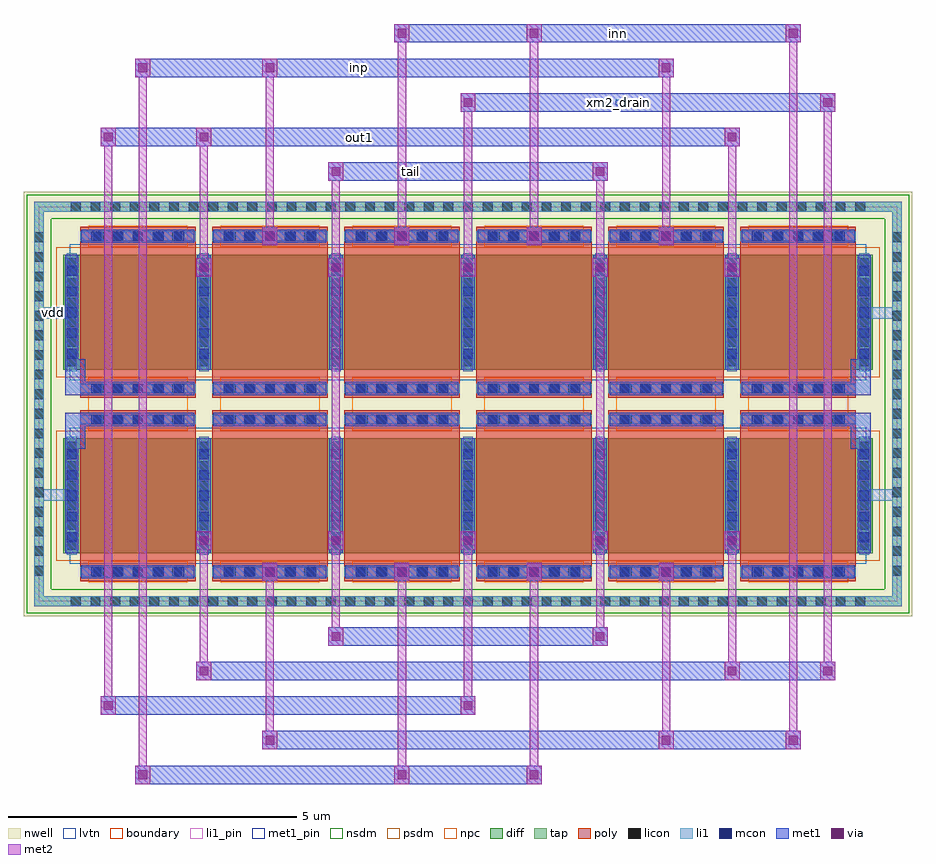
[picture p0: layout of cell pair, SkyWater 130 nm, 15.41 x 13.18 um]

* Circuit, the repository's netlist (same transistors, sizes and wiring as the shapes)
* SPDX-License-Identifier: Apache-2.0
* Copyright 2026 Mauro Rodriguez Blasco
*
* Second layout exercise: the comparator's PMOS input pair (XM1, XM2), one unit w=2 l=2 and
* four units each, as one low-Vt device of two rows of six fingers (m=2, nf=6) in one n-well
* with its guard ring: a 2 x 4 common centroid, top row D A B B A D, bottom row D B A A B D.
* A is XM1 (inp, out1), B is XM2 (inn, xm2_drain), D a dummy with its gate and outer column
* at vdd. The fingers share diffusion, so in the top row the dummies touch A's drain and in
* the bottom row B's: two dummies on each drain, which keeps out1 and xm2_drain equally loaded.
* Diffusion columns, left to right: top row vdd out1 tail xm2_drain tail out1 vdd; bottom row
* vdd xm2_drain tail out1 tail xm2_drain vdd. Guard ring (the body): vdd.
* Reference for LVS (scripts/flow.py lvs pair).
.subckt pair inp inn out1 xm2_drain tail vdd
XM1 out1 inp tail vdd sky130_fd_pr__pfet_01v8_lvt w=2 l=2 mult=4 m=4
XM2 xm2_drain inn tail vdd sky130_fd_pr__pfet_01v8_lvt w=2 l=2 mult=4 m=4
XMDA out1 vdd vdd vdd sky130_fd_pr__pfet_01v8_lvt w=2 l=2 mult=2 m=2
XMDB xm2_drain vdd vdd vdd sky130_fd_pr__pfet_01v8_lvt w=2 l=2 mult=2 m=2
.ends pair

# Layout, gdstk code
import gdstk
lib = gdstk.Library(unit=1e-6, precision=1e-09)
def R(c, l, rs):  # rectangles x0, y0, x1, y1
    for r in rs: c.add(gdstk.rectangle(r[:2], r[2:], *l))
def A(c, l, x, y, w, h, nx, ny, dx, dy):  # array of equal rectangles
    R(c, l, [(x+i*dx, y+j*dy, x+i*dx+w, y+j*dy+h) for i in range(nx) for j in range(ny)])
nwell = (64, 20)
diff = (65, 20)
tap = (65, 44)
poly = (66, 20)
licon = (66, 44)
li1_pin = (67, 16)
li1 = (67, 20)
mcon = (67, 44)
met1_pin = (68, 16)
met1 = (68, 20)
via = (68, 44)
met2 = (69, 20)
nsdm = (93, 44)
psdm = (94, 20)
npc = (95, 20)
lvtn = (125, 44)
boundary = (235, 4)

sky130_fd_pr__pfet_01v8_ = lib.new_cell('sky130_fd_pr__pfet_01v8_lvt_XXW46M')
R(sky130_fd_pr__pfet_01v8_, nwell, [(-7.705,-3.685,7.705,3.685)])
R(sky130_fd_pr__pfet_01v8_, diff, [(-7.015,-2.59,7.015,-0.59), (-7.015,0.59,7.015,2.59)])
R(sky130_fd_pr__pfet_01v8_, tap, [(-7.525,-3.505,7.525,-3.335), (-7.525,-3.335,-7.355,3.335), (7.355,-3.335,7.525,3.335), (-7.525,3.335,7.525,3.505)])
A(sky130_fd_pr__pfet_01v8_, poly, -6.725, -3.075, 2, 2.97, 6, 2, 2.29, 3.18)
A(sky130_fd_pr__pfet_01v8_, licon, -6.885, -3.505, 0.17, 0.17, 41, 2, 0.34, 6.84)
A(sky130_fd_pr__pfet_01v8_, licon, -6.49, -2.995, 0.17, 0.17, 5, 2, 0.34, 2.64)
A(sky130_fd_pr__pfet_01v8_, licon, -4.2, -2.995, 0.17, 0.17, 5, 2, 0.34, 2.64)
A(sky130_fd_pr__pfet_01v8_, licon, -1.91, -2.995, 0.17, 0.17, 5, 2, 0.34, 2.64)
A(sky130_fd_pr__pfet_01v8_, licon, 0.38, -2.995, 0.17, 0.17, 5, 2, 0.34, 2.64)
A(sky130_fd_pr__pfet_01v8_, licon, 2.67, -2.995, 0.17, 0.17, 5, 2, 0.34, 2.64)
A(sky130_fd_pr__pfet_01v8_, licon, 4.96, -2.995, 0.17, 0.17, 5, 2, 0.34, 2.64)
A(sky130_fd_pr__pfet_01v8_, licon, -7.525, -2.975, 0.17, 0.17, 1, 18, 0, 0.34)
A(sky130_fd_pr__pfet_01v8_, licon, 7.355, -2.975, 0.17, 0.17, 1, 18, 0, 0.34)
A(sky130_fd_pr__pfet_01v8_, licon, -6.955, -2.525, 0.17, 0.17, 7, 6, 2.29, 0.34)
A(sky130_fd_pr__pfet_01v8_, licon, -6.49, 0.185, 0.17, 0.17, 5, 2, 0.34, 2.64)
A(sky130_fd_pr__pfet_01v8_, licon, -4.2, 0.185, 0.17, 0.17, 5, 2, 0.34, 2.64)
A(sky130_fd_pr__pfet_01v8_, licon, -1.91, 0.185, 0.17, 0.17, 5, 2, 0.34, 2.64)
A(sky130_fd_pr__pfet_01v8_, licon, 0.38, 0.185, 0.17, 0.17, 5, 2, 0.34, 2.64)
A(sky130_fd_pr__pfet_01v8_, licon, 2.67, 0.185, 0.17, 0.17, 5, 2, 0.34, 2.64)
A(sky130_fd_pr__pfet_01v8_, licon, 4.96, 0.185, 0.17, 0.17, 5, 2, 0.34, 2.64)
A(sky130_fd_pr__pfet_01v8_, licon, -6.955, 0.655, 0.17, 0.17, 7, 6, 2.29, 0.34)
A(sky130_fd_pr__pfet_01v8_, li1, -6.725, -2.995, 2, 0.17, 6, 2, 2.29, 2.64)
A(sky130_fd_pr__pfet_01v8_, li1, -6.955, -2.61, 0.17, 2.04, 7, 2, 2.29, 3.18)
A(sky130_fd_pr__pfet_01v8_, li1, -6.725, 0.185, 2, 0.17, 6, 2, 2.29, 2.64)
R(sky130_fd_pr__pfet_01v8_, li1, [(-7.525,-3.505,7.525,-3.335), (-7.525,-3.335,-7.355,3.335), (7.355,-3.335,7.525,3.335), (-7.525,3.335,7.525,3.505)])
A(sky130_fd_pr__pfet_01v8_, mcon, -6.53, -2.995, 0.17, 0.17, 5, 2, 0.36, 2.64)
A(sky130_fd_pr__pfet_01v8_, mcon, -4.24, -2.995, 0.17, 0.17, 5, 2, 0.36, 2.64)
A(sky130_fd_pr__pfet_01v8_, mcon, -1.95, -2.995, 0.17, 0.17, 5, 2, 0.36, 2.64)
A(sky130_fd_pr__pfet_01v8_, mcon, 0.34, -2.995, 0.17, 0.17, 5, 2, 0.36, 2.64)
A(sky130_fd_pr__pfet_01v8_, mcon, 2.63, -2.995, 0.17, 0.17, 5, 2, 0.36, 2.64)
A(sky130_fd_pr__pfet_01v8_, mcon, 4.92, -2.995, 0.17, 0.17, 5, 2, 0.36, 2.64)
A(sky130_fd_pr__pfet_01v8_, mcon, -6.955, -2.395, 0.17, 0.17, 7, 5, 2.29, 0.36)
A(sky130_fd_pr__pfet_01v8_, mcon, -6.53, 0.185, 0.17, 0.17, 5, 2, 0.36, 2.64)
A(sky130_fd_pr__pfet_01v8_, mcon, -4.24, 0.185, 0.17, 0.17, 5, 2, 0.36, 2.64)
A(sky130_fd_pr__pfet_01v8_, mcon, -1.95, 0.185, 0.17, 0.17, 5, 2, 0.36, 2.64)
A(sky130_fd_pr__pfet_01v8_, mcon, 0.34, 0.185, 0.17, 0.17, 5, 2, 0.36, 2.64)
A(sky130_fd_pr__pfet_01v8_, mcon, 2.63, 0.185, 0.17, 0.17, 5, 2, 0.36, 2.64)
A(sky130_fd_pr__pfet_01v8_, mcon, 4.92, 0.185, 0.17, 0.17, 5, 2, 0.36, 2.64)
A(sky130_fd_pr__pfet_01v8_, mcon, -6.955, 0.785, 0.17, 0.17, 7, 5, 2.29, 0.36)
A(sky130_fd_pr__pfet_01v8_, met1, -6.705, -3.025, 1.96, 0.23, 6, 2, 2.29, 2.64)
A(sky130_fd_pr__pfet_01v8_, met1, -6.985, -2.59, 0.23, 2, 7, 2, 2.29, 3.18)
A(sky130_fd_pr__pfet_01v8_, met1, -6.705, 0.155, 1.96, 0.23, 6, 2, 2.29, 2.64)
R(sky130_fd_pr__pfet_01v8_, nsdm, [(-7.65,-3.63,7.65,-3.21), (-7.65,-3.21,-7.23,3.21), (7.23,-3.21,7.65,3.21), (-7.65,3.21,7.65,3.63)])
R(sky130_fd_pr__pfet_01v8_, psdm, [(-7.14,-2.715,7.14,-0.465), (-7.14,0.465,7.14,2.715)])
A(sky130_fd_pr__pfet_01v8_, npc, -6.59, -3.095, 1.73, 0.37, 6, 2, 2.29, 5.82)
A(sky130_fd_pr__pfet_01v8_, npc, -6.59, -0.455, 1.73, 0.91, 6, 1, 2.29, 0)
R(sky130_fd_pr__pfet_01v8_, lvtn, [(-6.905,-2.77,6.905,-0.41), (-6.905,0.41,6.905,2.77)])
R(sky130_fd_pr__pfet_01v8_, boundary, [(-7.44,-3.42,7.44,3.42)])
sky130_fd_pr__pfet_01v8_.add(gdstk.Label('B', (0,-3.42), layer=67, texttype=5))
sky130_fd_pr__pfet_01v8_.add(gdstk.Label('D0_0', (-6.87,-1.59), layer=67, texttype=5))
sky130_fd_pr__pfet_01v8_.add(gdstk.Label('G0_0', (-5.725,-0.27), layer=67, texttype=5))
sky130_fd_pr__pfet_01v8_.add(gdstk.Label('D0_1', (-6.87,1.59), layer=67, texttype=5))
sky130_fd_pr__pfet_01v8_.add(gdstk.Label('G0_1', (-5.725,2.91), layer=67, texttype=5))
sky130_fd_pr__pfet_01v8_.add(gdstk.Label('S1_0', (-4.58,-1.59), layer=67, texttype=5))
sky130_fd_pr__pfet_01v8_.add(gdstk.Label('G1_0', (-3.435,-0.27), layer=67, texttype=5))
sky130_fd_pr__pfet_01v8_.add(gdstk.Label('S1_1', (-4.58,1.59), layer=67, texttype=5))
sky130_fd_pr__pfet_01v8_.add(gdstk.Label('G1_1', (-3.435,2.91), layer=67, texttype=5))
sky130_fd_pr__pfet_01v8_.add(gdstk.Label('D2_0', (-2.29,-1.59), layer=67, texttype=5))
sky130_fd_pr__pfet_01v8_.add(gdstk.Label('G2_0', (-1.145,-0.27), layer=67, texttype=5))
sky130_fd_pr__pfet_01v8_.add(gdstk.Label('D2_1', (-2.29,1.59), layer=67, texttype=5))
sky130_fd_pr__pfet_01v8_.add(gdstk.Label('G2_1', (-1.145,2.91), layer=67, texttype=5))
sky130_fd_pr__pfet_01v8_.add(gdstk.Label('S3_0', (0,-1.59), layer=67, texttype=5))
sky130_fd_pr__pfet_01v8_.add(gdstk.Label('G3_0', (1.145,-0.27), layer=67, texttype=5))
sky130_fd_pr__pfet_01v8_.add(gdstk.Label('S3_1', (0,1.59), layer=67, texttype=5))
sky130_fd_pr__pfet_01v8_.add(gdstk.Label('G3_1', (1.145,2.91), layer=67, texttype=5))
sky130_fd_pr__pfet_01v8_.add(gdstk.Label('D4_0', (2.29,-1.59), layer=67, texttype=5))
sky130_fd_pr__pfet_01v8_.add(gdstk.Label('G4_0', (3.435,-0.27), layer=67, texttype=5))
sky130_fd_pr__pfet_01v8_.add(gdstk.Label('D4_1', (2.29,1.59), layer=67, texttype=5))
sky130_fd_pr__pfet_01v8_.add(gdstk.Label('G4_1', (3.435,2.91), layer=67, texttype=5))
sky130_fd_pr__pfet_01v8_.add(gdstk.Label('S5_0', (4.58,-1.59), layer=67, texttype=5))
sky130_fd_pr__pfet_01v8_.add(gdstk.Label('G5_0', (5.725,-0.27), layer=67, texttype=5))
sky130_fd_pr__pfet_01v8_.add(gdstk.Label('S5_1', (4.58,1.59), layer=67, texttype=5))
sky130_fd_pr__pfet_01v8_.add(gdstk.Label('G5_1', (5.725,2.91), layer=67, texttype=5))

pair = lib.new_cell('pair')
R(pair, li1_pin, [(0.2,4.95,0.3,5.05)])
R(pair, li1, [(-0.085,1.74,0.6,1.94), (14.28,1.74,14.965,1.94), (-0.085,4.9,0.6,5.1), (14.28,4.9,14.965,5.1)])
R(pair, met1_pin, [(6.4,7.4,6.5,7.5), (5.5,8,5.6,8.1), (10,8.6,10.1,8.7), (5.5,9.2,5.6,9.3), (10,9.8,10.1,9.9)])
A(pair, met1, 3.875, 0.35, 0.26, 0.32, 4, 2, 2.29, 5.82)
A(pair, met1, 2.73, 0.89, 0.26, 0.32, 5, 2, 2.29, 4.74)
R(pair, met1, [(1.67,-3.17,8.715,-2.85), (3.875,-2.57,13.21,-2.25), (1.07,-1.97,7.57,-1.65), (2.73,-1.37,13.81,-1.05), (5.02,-0.77,9.86,-0.45), (0.455,2.64,0.8,3.265), (14.08,2.64,14.425,3.265), (0.455,3.575,0.8,4.2), (14.08,3.575,14.425,4.2), (5.02,7.29,9.86,7.61), (1.07,7.89,12.15,8.21), (7.31,8.49,13.81,8.81), (1.67,9.09,11.005,9.41), (6.165,9.69,13.21,10.01)])
A(pair, via, 3.93, 0.435, 0.15, 0.15, 4, 2, 2.29, 5.82)
A(pair, via, 2.785, 0.975, 0.15, 0.15, 5, 2, 2.29, 4.74)
R(pair, via, [(1.725,-3.085,1.875,-2.935), (6.22,-3.085,6.37,-2.935), (8.51,-3.085,8.66,-2.935), (3.93,-2.485,4.08,-2.335), (10.8,-2.485,10.95,-2.335), (13.005,-2.485,13.155,-2.335), (1.125,-1.885,1.275,-1.735), (7.365,-1.885,7.515,-1.735), (2.785,-1.285,2.935,-1.135), (11.945,-1.285,12.095,-1.135), (13.605,-1.285,13.755,-1.135), (5.075,-0.685,5.225,-0.535), (9.655,-0.685,9.805,-0.535), (5.075,7.375,5.225,7.525), (9.655,7.375,9.805,7.525), (1.125,7.975,1.275,8.125), (2.785,7.975,2.935,8.125), (11.945,7.975,12.095,8.125), (7.365,8.575,7.515,8.725), (13.605,8.575,13.755,8.725), (1.725,9.175,1.875,9.325), (3.93,9.175,4.08,9.325), (10.8,9.175,10.95,9.325), (6.22,9.775,6.37,9.925), (8.51,9.775,8.66,9.925), (13.005,9.775,13.155,9.925)])
A(pair, met2, 3.875, 0.35, 0.26, 0.32, 4, 2, 2.29, 5.82)
A(pair, met2, 2.73, 0.89, 0.26, 0.32, 5, 2, 2.29, 4.74)
R(pair, met2, [(1.67,-3.17,1.93,-2.85), (6.165,-3.17,6.425,-2.85), (8.455,-3.17,8.715,-2.85), (1.73,-2.85,1.87,9.09), (6.225,-2.85,6.365,0.35), (8.515,-2.85,8.655,0.35), (3.875,-2.57,4.135,-2.25), (10.745,-2.57,11.005,-2.25), (12.95,-2.57,13.21,-2.25), (3.935,-2.25,4.075,0.35), (10.805,-2.25,10.945,0.35), (13.01,-2.25,13.15,9.69), (1.07,-1.97,1.33,-1.65), (7.31,-1.97,7.57,-1.65), (1.13,-1.65,1.27,7.89), (7.37,-1.65,7.51,0.89), (2.73,-1.37,2.99,-1.05), (11.89,-1.37,12.15,-1.05), (13.55,-1.37,13.81,-1.05), (2.79,-1.05,2.93,0.89), (11.95,-1.05,12.09,0.89), (13.61,-1.05,13.75,8.49), (5.02,-0.77,5.28,-0.45), (9.6,-0.77,9.86,-0.45), (5.08,-0.45,5.22,0.89), (9.66,-0.45,9.8,0.89), (5.08,1.21,5.22,5.63), (9.66,1.21,9.8,5.63), (2.79,5.95,2.93,7.89), (5.08,5.95,5.22,7.29), (7.37,5.95,7.51,8.49), (9.66,5.95,9.8,7.29), (11.95,5.95,12.09,7.89), (3.935,6.49,4.075,9.09), (6.225,6.49,6.365,9.69), (8.515,6.49,8.655,9.69), (10.805,6.49,10.945,9.09), (5.02,7.29,5.28,7.61), (9.6,7.29,9.86,7.61), (1.07,7.89,1.33,8.21), (2.73,7.89,2.99,8.21), (11.89,7.89,12.15,8.21), (7.31,8.49,7.57,8.81), (13.55,8.49,13.81,8.81), (1.67,9.09,1.93,9.41), (3.875,9.09,4.135,9.41), (10.745,9.09,11.005,9.41), (6.165,9.69,6.425,10.01), (8.455,9.69,8.715,10.01), (12.95,9.69,13.21,10.01)])
pair.add(gdstk.Reference(sky130_fd_pr__pfet_01v8_, (7.44,3.42)))
pair.add(gdstk.Label('vdd', (0.25,5), layer=67, texttype=5))
pair.add(gdstk.Label('tail', (6.45,7.45), layer=68, texttype=5))
pair.add(gdstk.Label('out1', (5.55,8.05), layer=68, texttype=5))
pair.add(gdstk.Label('xm2_drain', (10.05,8.65), layer=68, texttype=5))
pair.add(gdstk.Label('inp', (5.55,9.25), layer=68, texttype=5))
pair.add(gdstk.Label('inn', (10.05,9.85), layer=68, texttype=5))

lib.write_gds('pair.gds')
